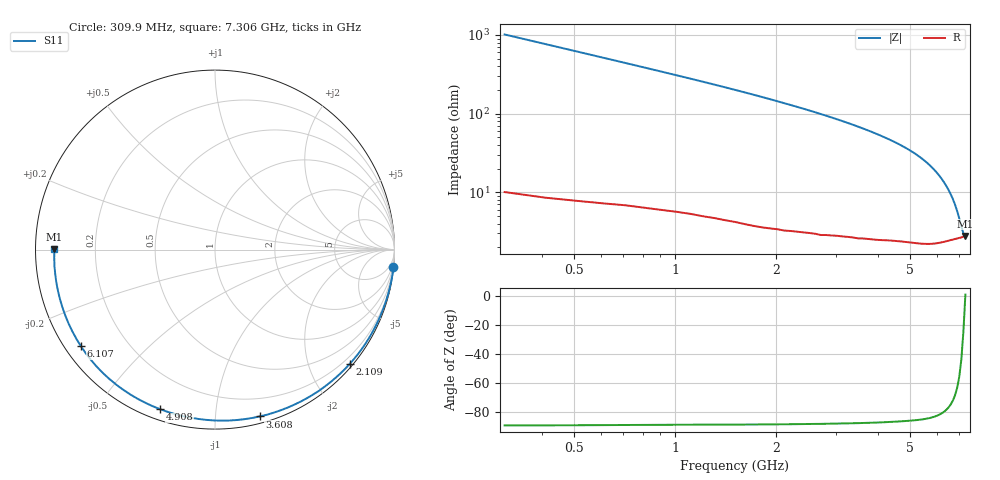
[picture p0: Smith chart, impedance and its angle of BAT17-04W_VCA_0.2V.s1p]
! Infineon Technologies  Discrete & RF Semiconductors
! BAT17-04W
! VCA = 0.2 V
! One-Port S-Parameters
# Hz  S  MA  R  50
!f  S11
!Hz  Mag  Ang
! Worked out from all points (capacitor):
!   71 points, 309.9 MHz to 7.306 GHz, reference 50 ohm
!   read as one part to ground: C = 504 fF near 309.9 MHz
!   lowest |Z| = 2.78 ohm at 7.306 GHz (marker M1)
!   series resonance near 7.302 GHz, so ESL is about 940 pH
!   S11 on the Smith chart (normalised r, x): 309.9 MHz: 0, -20; 2.109 GHz: 0.07, -2.72; 3.608 GHz: 0.05, -1.30; 4.908 GHz: 0.05, -0.71; 6.107 GHz: 0.05, -0.32; 7.306 GHz: 0.06, +0.00
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3.0985e8  0.999 -5.6
8.096e8  0.9958 -14.8
1.2094e9  0.9927 -22.2
1.50925e9  0.9902 -28.0
1.70915e9  0.9887 -32.1
2.10895e9  0.9846 -40.4
2.50875e9  0.9793 -49.1
2.70865e9  0.977 -53.6
3.0085e9  0.9719 -60.5
3.30835e9  0.9672 -67.7
3.6082e9  0.9623 -75.0
3.8081e9  0.959 -80.0
4.008e9  0.9556 -85.1
4.2079e9  0.9519 -90.3
4.50775e9  0.9465 -98.2
4.70765e9  0.9432 -103.6
4.90755e9  0.9403 -109.0
5.2074e9  0.9363 -117.5
5.4073e9  0.9336 -123.2
5.6072e9  0.9306 -129.1
5.90705e9  0.9252 -138.1
6.10695e9  0.9209 -144.2
6.30685e9  0.9161 -150.3
6.50675e9  0.9114 -156.3
6.70665e9  0.9069 -162.3
6.90655e9  0.9028 -168.2
7.10645e9  0.8992 -174.2
7.30635e9  0.8945 179.9
